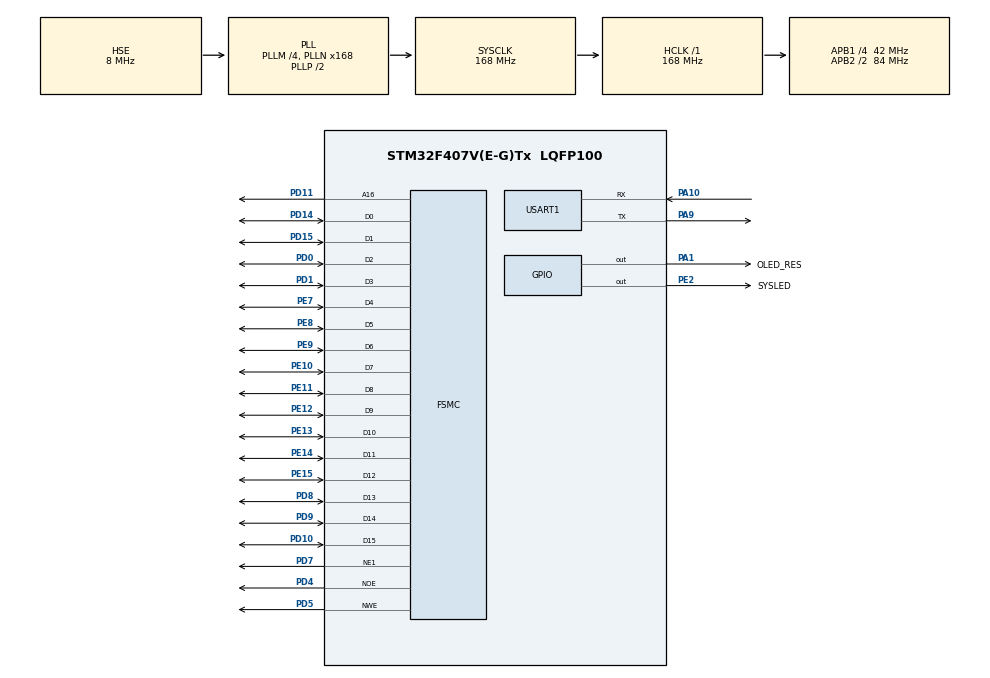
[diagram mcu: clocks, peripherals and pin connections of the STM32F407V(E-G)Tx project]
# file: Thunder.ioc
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Dma.Request0=USART1_RX
Dma.Request1=USART1_TX
Dma.USART1_RX.0.Direction=DMA_PERIPH_TO_MEMORY
Dma.USART1_RX.0.FIFOMode=DMA_FIFOMODE_DISABLE
Dma.USART1_RX.0.Instance=DMA2_Stream2
Dma.USART1_RX.0.MemDataAlignment=DMA_MDATAALIGN_BYTE
Dma.USART1_RX.0.MemInc=DMA_MINC_ENABLE
Dma.USART1_RX.0.Mode=DMA_NORMAL
Dma.USART1_RX.0.PeriphDataAlignment=DMA_PDATAALIGN_BYTE
Dma.USART1_RX.0.PeriphInc=DMA_PINC_DISABLE
Dma.USART1_RX.0.Priority=DMA_PRIORITY_VERY_HIGH
Dma.USART1_TX.1.Direction=DMA_MEMORY_TO_PERIPH
Dma.USART1_TX.1.FIFOMode=DMA_FIFOMODE_DISABLE
Dma.USART1_TX.1.Instance=DMA2_Stream7
Dma.USART1_TX.1.MemDataAlignment=DMA_MDATAALIGN_BYTE
Dma.USART1_TX.1.MemInc=DMA_MINC_ENABLE
Dma.USART1_TX.1.Mode=DMA_NORMAL
Dma.USART1_TX.1.PeriphDataAlignment=DMA_PDATAALIGN_BYTE
Dma.USART1_TX.1.PeriphInc=DMA_PINC_DISABLE
Dma.USART1_TX.1.Priority=DMA_PRIORITY_LOW
FSMC.AddressSetupTime1=5
FSMC.BusTurnAroundDuration1=0
FSMC.DataSetupTime1=4
Mcu.Family=STM32F4
Mcu.Name=STM32F407V(E-G)Tx
Mcu.Package=LQFP100
NVIC.DMA2_Stream2_IRQn=true\:0\:0\:false\:false\:true\:false\:true
NVIC.DMA2_Stream7_IRQn=true\:0\:0\:false\:false\:true\:false\:true
NVIC.PriorityGroup=NVIC_PRIORITYGROUP_4
NVIC.TIM2_IRQn=true\:0\:0\:false\:false\:true\:true\:true
NVIC.USART1_IRQn=true\:0\:0\:false\:false\:true\:true\:true
PA1.GPIO_Label=OLED_RES
PA1.GPIO_PuPd=GPIO_PULLUP
PA1.GPIO_Speed=GPIO_SPEED_FREQ_LOW
PA1.PinState=GPIO_PIN_SET
PA1.Signal=GPIO_Output
PA10.Mode=Asynchronous
PA10.Signal=USART1_RX
PA13.Mode=Serial_Wire
PA13.Signal=SYS_JTMS-SWDIO
PA14.Mode=Serial_Wire
PA14.Signal=SYS_JTCK-SWCLK
PA9.Mode=Asynchronous
PA9.Signal=USART1_TX
PC14-OSC32_IN.Mode=LSE-External-Oscillator
PC14-OSC32_IN.Signal=RCC_OSC32_IN
PC15-OSC32_OUT.Mode=LSE-External-Oscillator
PC15-OSC32_OUT.Signal=RCC_OSC32_OUT
PD0.Mode=16b-d1
PD0.Signal=FSMC_D2
PD1.Mode=16b-d1
PD1.Signal=FSMC_D3
PD10.Mode=16b-d1
PD10.Signal=FSMC_D15
PD11.Mode=A16_1
PD11.Signal=FSMC_A16
PD14.Mode=16b-d1
PD14.Signal=FSMC_D0
PD15.Mode=16b-d1
PD15.Signal=FSMC_D1
PD4.Mode=Lcd1
PD4.Signal=FSMC_NOE
PD5.Mode=Lcd1
PD5.Signal=FSMC_NWE
PD7.Mode=NorPsramChipSelect1_1
PD7.Signal=FSMC_NE1
PD8.Mode=16b-d1
PD8.Signal=FSMC_D13
PD9.Mode=16b-d1
PD9.Signal=FSMC_D14
PE10.Mode=16b-d1
PE10.Signal=FSMC_D7
PE11.Mode=16b-d1
PE11.Signal=FSMC_D8
PE12.Mode=16b-d1
PE12.Signal=FSMC_D9
PE13.Mode=16b-d1
PE13.Signal=FSMC_D10
PE14.Mode=16b-d1
PE14.Signal=FSMC_D11
PE15.Mode=16b-d1
PE15.Signal=FSMC_D12
PE2.GPIO_Label=SYSLED
PE2.GPIO_PuPd=GPIO_PULLUP
PE2.PinState=GPIO_PIN_SET
PE2.Signal=GPIO_Output
PE7.Mode=16b-d1
PE7.Signal=FSMC_D4
PE8.Mode=16b-d1
PE8.Signal=FSMC_D5
PE9.Mode=16b-d1
PE9.Signal=FSMC_D6
PH0-OSC_IN.Mode=HSE-External-Oscillator
PH0-OSC_IN.Signal=RCC_OSC_IN
PH1-OSC_OUT.Mode=HSE-External-Oscillator
PH1-OSC_OUT.Signal=RCC_OSC_OUT
ProjectManager.HeapSize=0x200
ProjectManager.StackSize=0x400
ProjectManager.TargetToolchain=MDK-ARM V5
RCC.48MHZClocksFreq_Value=84000000
RCC.AHBFreq_Value=168000000
RCC.APB1CLKDivider=RCC_HCLK_DIV4
RCC.APB1Freq_Value=42000000
RCC.APB1TimFreq_Value=84000000
RCC.APB2CLKDivider=RCC_HCLK_DIV2
RCC.APB2Freq_Value=84000000
RCC.APB2TimFreq_Value=168000000
RCC.CortexFreq_Value=168000000
RCC.HCLKFreq_Value=168000000
RCC.HSE_VALUE=8000000
RCC.HSI_VALUE=16000000
RCC.PLLM=4
RCC.PLLN=168
RCC.PLLSourceVirtual=RCC_PLLSOURCE_HSE
RCC.SYSCLKFreq_VALUE=168000000
RCC.SYSCLKSource=RCC_SYSCLKSOURCE_PLLCLK
RCC.VCOOutputFreq_Value=336000000
TIM2.AutoReloadPreload=TIM_AUTORELOAD_PRELOAD_ENABLE
TIM2.Period=4999
TIM2.Prescaler=16799
USART1.VirtualMode=VM_ASYNC
VP_TIM2_VS_ClockSourceINT.Mode=Internal
board=custom

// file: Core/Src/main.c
/* USER CODE BEGIN Header */
/**
  ******************************************************************************
  * @file           : main.c
  * @brief          : Main program body
  ******************************************************************************
  * @attention
  *
  * <h2><center>&copy; Copyright (c) 2019 STMicroelectronics.
  * All rights reserved.</center></h2>
  *
  * This software component is licensed by ST under BSD 3-Clause license,
  * the "License"; You may not use this file except in compliance with the
  * License. You may obtain a copy of the License at:
  *                        opensource.org/licenses/BSD-3-Clause
  *
  ******************************************************************************
  */
/* USER CODE END Header */

#include "main.h"
#include "dma.h"
#include "tim.h"
#include "usart.h"
#include "gpio.h"
#include "fsmc.h"

/* USER CODE BEGIN Includes */
#include "sys.h"
#include "stdlib.h"
#include "stdio.h"
#include "gui.h"
#include "OLED_Driver.h"
#include "OLED_Animation.h"

/* USER CODE END Includes */

/* USER CODE BEGIN PTD */
u16 Display_Mode;
/* USER CODE END PTD */

void SystemClock_Config(void);

/* USER CODE BEGIN 0 */
unsigned int Fps = 0;

/* USER CODE END 0 */

int main(void)
{

  /* MCU Configuration--------------------------------------------------------*/

  /* Reset of all peripherals, Initializes the Flash interface and the Systick. */
  HAL_Init();

  /* Configure the system clock */
  SystemClock_Config();

  /* Initialize all configured peripherals */
  MX_GPIO_Init();
  MX_DMA_Init();
  MX_TIM2_Init();
  MX_FSMC_Init();
  MX_USART1_UART_Init();
  /* USER CODE BEGIN 2 */
	HAL_TIM_Base_Start_IT(&htim2);
	GUI_Init();
	GUI_SetBkColor(GUI_BLACK);

	GUI_SetColor(GUI_WHITE);
	OLED_AllMotion_Init();
	GUI_Clear();
	GUI_SetFont(&GUI_Font24_ASCII);
	GUI_DispStringHCenterAt("COLOR_Show", 70, 5);
		HAL_Delay(1000);
	Device_Cmd.commandmotion = 0x1;
	Device_Cmd.commandspeed = 500;
	Device_Cmd.commandset = 0x8;
	Device_Cmd.commandbrightness = 0xff;
  /* USER CODE END 2 */

  /* Infinite loop */
  while (1)
  {

    /* USER CODE BEGIN 3 */
		Fill_Screen(0);
		OLED_AllMotion(Device_Cmd.commandmotion,Device_Cmd.commandspeed);
		Refrash_Screen();
		HAL_Delay(10);
  }
  /* USER CODE END 3 */
}

void SystemClock_Config(void)
{
  RCC_OscInitTypeDef RCC_OscInitStruct = {0};
  RCC_ClkInitTypeDef RCC_ClkInitStruct = {0};

  /** Configure the main internal regulator output voltage
  */
  __HAL_RCC_PWR_CLK_ENABLE();
  __HAL_PWR_VOLTAGESCALING_CONFIG(PWR_REGULATOR_VOLTAGE_SCALE1);
  /** Initializes the CPU, AHB and APB busses clocks
  */
  RCC_OscInitStruct.OscillatorType = RCC_OSCILLATORTYPE_HSE;
  RCC_OscInitStruct.HSEState = RCC_HSE_ON;
  RCC_OscInitStruct.PLL.PLLState = RCC_PLL_ON;
  RCC_OscInitStruct.PLL.PLLSource = RCC_PLLSOURCE_HSE;
  RCC_OscInitStruct.PLL.PLLM = 4;
  RCC_OscInitStruct.PLL.PLLN = 168;
  RCC_OscInitStruct.PLL.PLLP = RCC_PLLP_DIV2;
  RCC_OscInitStruct.PLL.PLLQ = 4;
  if (HAL_RCC_OscConfig(&RCC_OscInitStruct) != HAL_OK)
  {
    Error_Handler();
  }
  /** Initializes the CPU, AHB and APB busses clocks
  */
  RCC_ClkInitStruct.ClockType = RCC_CLOCKTYPE_HCLK|RCC_CLOCKTYPE_SYSCLK
                              |RCC_CLOCKTYPE_PCLK1|RCC_CLOCKTYPE_PCLK2;
  RCC_ClkInitStruct.SYSCLKSource = RCC_SYSCLKSOURCE_PLLCLK;
  RCC_ClkInitStruct.AHBCLKDivider = RCC_SYSCLK_DIV1;
  RCC_ClkInitStruct.APB1CLKDivider = RCC_HCLK_DIV4;
  RCC_ClkInitStruct.APB2CLKDivider = RCC_HCLK_DIV2;

  if (HAL_RCC_ClockConfig(&RCC_ClkInitStruct, FLASH_LATENCY_5) != HAL_OK)
  {
    Error_Handler();
  }
}

/* USER CODE BEGIN 4 */

void HAL_TIM_PeriodElapsedCallback(TIM_HandleTypeDef *htim)
{
	if (htim->Instance == htim2.Instance)
	{
		printf("Fps:%d\r\n",Fps);
		Fps = 0;
		HAL_GPIO_TogglePin(SYSLED_GPIO_Port,SYSLED_Pin);
	}
}

/* USER CODE END 4 */

void Error_Handler(void)
{
}

/************************ (C) COPYRIGHT STMicroelectronics *****END OF FILE****/
